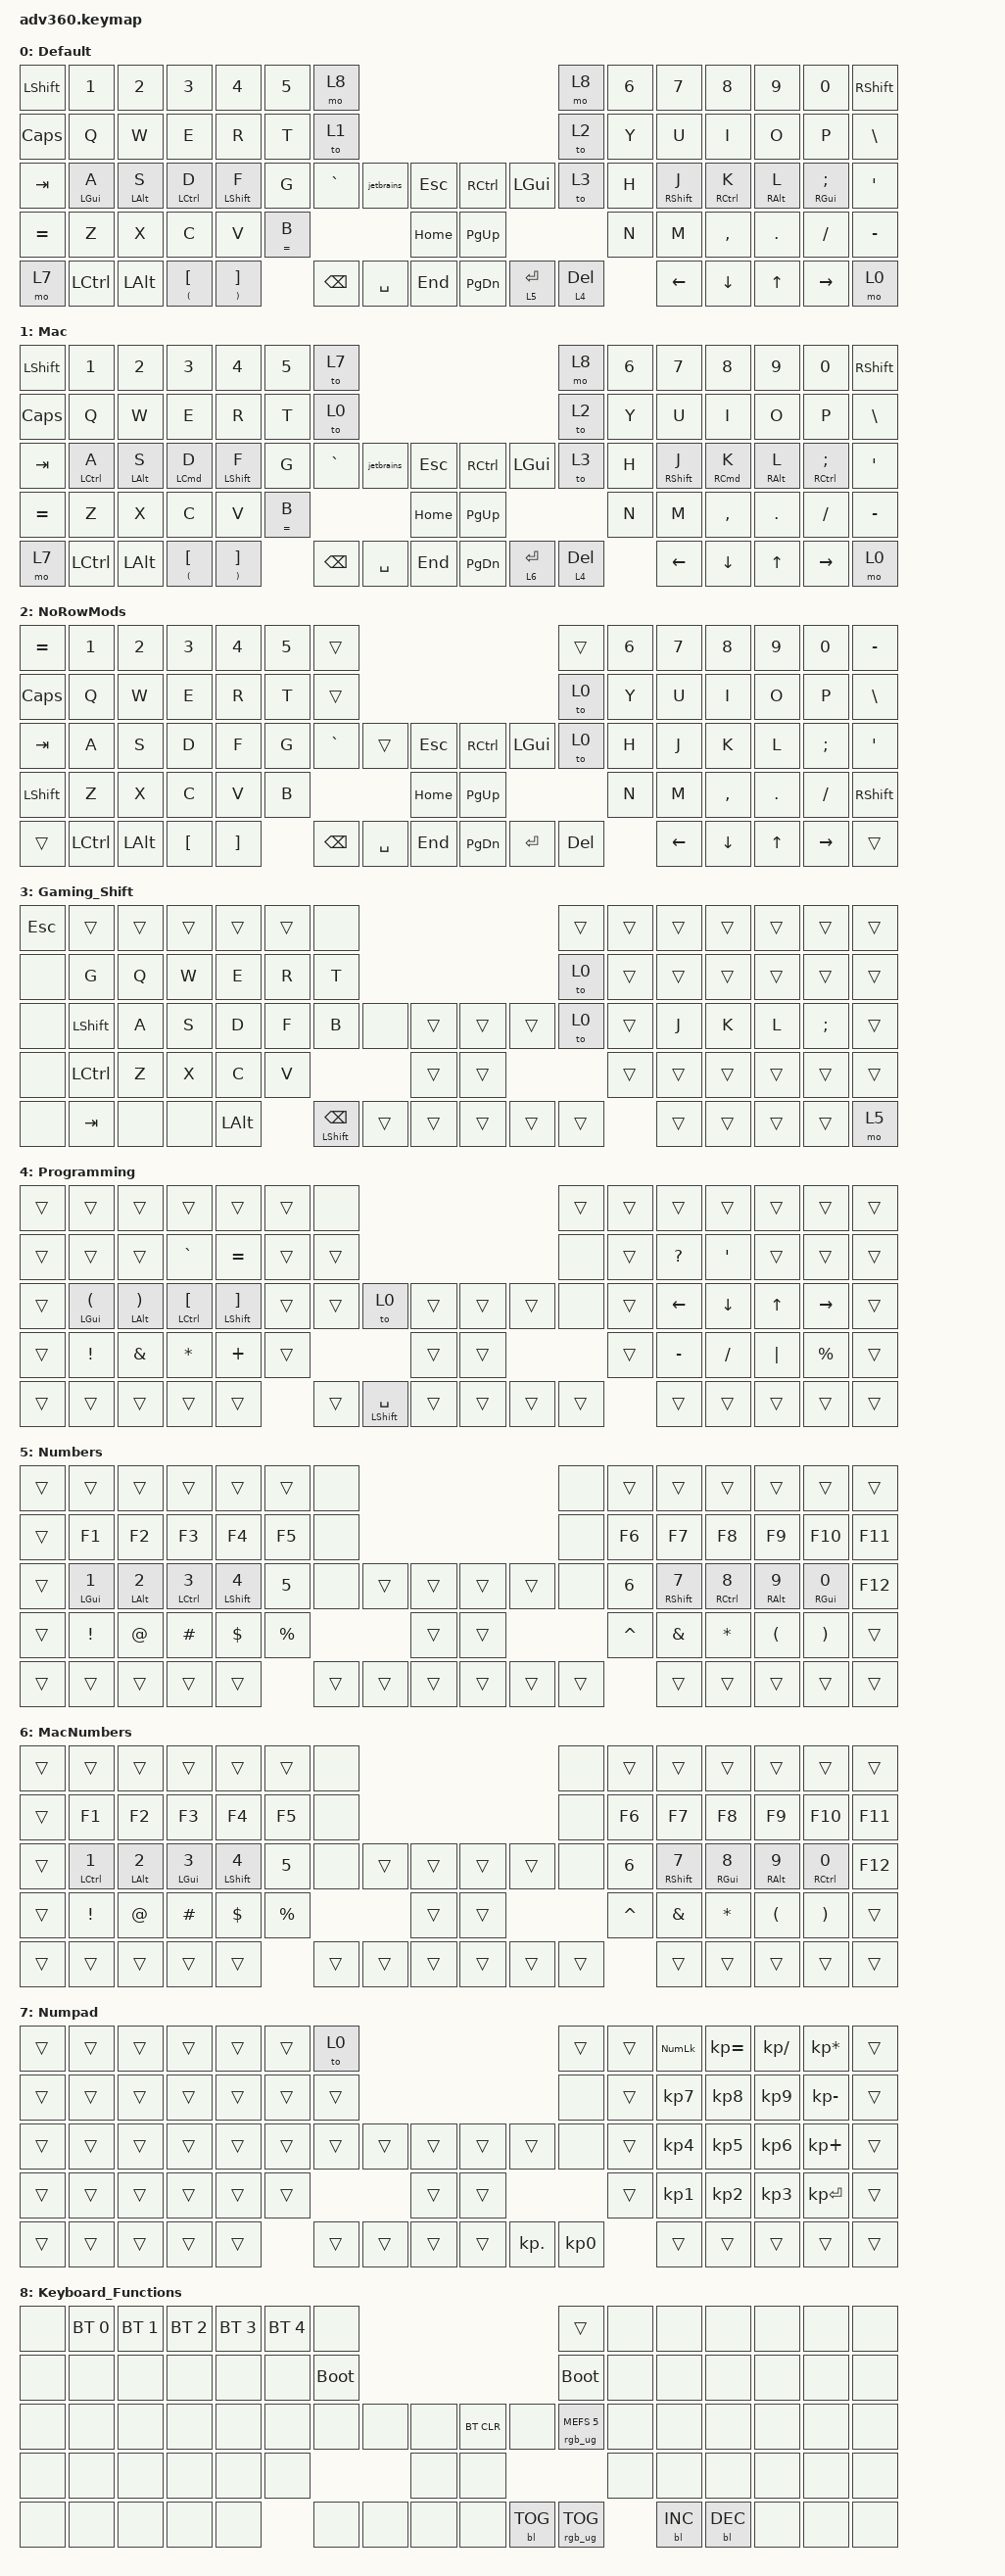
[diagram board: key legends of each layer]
#include <dt-bindings/zmk/stp.h>
#include <behaviors.dtsi>
#include <dt-bindings/zmk/backlight.h>
#include <dt-bindings/zmk/bt.h>
#include <dt-bindings/zmk/keys.h>
#include <dt-bindings/zmk/rgb.h>

/ {
    behaviors {
        #include "macros.dtsi"
    #include "version.dtsi"

        hm: homerow_mods {
            compatible = "zmk,behavior-hold-tap";
            label = "HOMEROW_MODS";
            #binding-cells = <2>;
            tapping-term-ms = <200>;
            quick_tap_ms = <0>;
            flavor = "tap-preferred";
            bindings = <&kp>, <&kp>;

            quick-tap-ms = <175>;
        };

        mt_layer: mt_layer {
            compatible = "zmk,behavior-hold-tap";
            label = "MT_LAYER";
            #binding-cells = <2>;
            tapping-term-ms = <200>;
            quick_tap_ms = <0>;
            flavor = "tap-preferred";
            bindings = <&mo>, <&kp>;

            quick-tap-ms = <175>;
        };

        get_me_outta_here: get_me_outta_here {
            compatible = "zmk,behavior-tap-dance";
            label = "GET_ME_OUTTA_HERE";
            #binding-cells = <0>;
            bindings = <&kp BSPC>, <&hm ESC BSPC>;
        };

        jetbrains: jetbrains {
            compatible = "zmk,behavior-tap-dance";
            label = "JETBRAINS";
            #binding-cells = <0>;
            bindings = <&hm LA(LC(L)) LSHFT>, <&hm LA(LS(L)) LSHFT>;
        };
    };

    keymap {
        compatible = "zmk,keymap";

        Default {
            bindings = <
&kp LSHFT  &kp N1      &kp N2        &kp N3         &kp N4         &kp N5       &mo 8                                                                  &mo 8            &kp N6  &kp N7        &kp N8       &kp N9      &kp N0              &kp RSHFT
&kp CAPS   &kp Q       &kp W         &kp E          &kp R          &kp T        &to 1                                                                  &to 2            &kp Y   &kp U         &kp I        &kp O       &kp P               &kp BSLH
&kp TAB    &hm LGUI A  &hm LALT S    &hm LCTRL D    &hm LSHFT F    &kp G        &kp GRAVE      &jetbrains  &kp ESC       &kp RCTRL  &kp LGUI           &to 3            &kp H   &hm RSHIFT J  &hm RCTRL K  &hm RALT L  &hm RGUI SEMICOLON  &kp SQT
&kp EQUAL  &kp Z       &kp X         &kp C          &kp V          &hm EQUAL B                             &kp HOME      &kp PG_UP                                      &kp N   &kp M         &kp COMMA    &kp DOT     &kp FSLH            &kp MINUS
&mo 7      &kp LCTRL   &kp LEFT_ALT  &hm LPAR LBKT  &hm RPAR RBKT               &kp BACKSPACE  &kp SPACE   &kp END       &kp PG_DN  &mt_layer 5 ENTER  &mt_layer 4 DEL          &kp LEFT      &kp DOWN     &kp UP      &kp RIGHT           &mo 0
            >;
        };

        Mac {
            bindings = <
&kp LSHFT  &kp N1       &kp N2        &kp N3              &kp N4         &kp N5       &to 7                                                                  &mo 8            &kp N6  &kp N7        &kp N8               &kp N9      &kp N0                       &kp RSHFT
&kp CAPS   &kp Q        &kp W         &kp E               &kp R          &kp T        &to 0                                                                  &to 2            &kp Y   &kp U         &kp I                &kp O       &kp P                        &kp BSLH
&kp TAB    &hm LCTRL A  &hm LALT S    &hm LEFT_COMMAND D  &hm LSHFT F    &kp G        &kp GRAVE      &jetbrains  &kp ESC       &kp RCTRL  &kp LGUI           &to 3            &kp H   &hm RSHIFT J  &hm RIGHT_COMMAND K  &hm RALT L  &hm RIGHT_CONTROL SEMICOLON  &kp SQT
&kp EQUAL  &kp Z        &kp X         &kp C               &kp V          &hm EQUAL B                             &kp HOME      &kp PG_UP                                      &kp N   &kp M         &kp COMMA            &kp DOT     &kp FSLH                     &kp MINUS
&mo 7      &kp LCTRL    &kp LEFT_ALT  &hm LPAR LBKT       &hm RPAR RBKT               &kp BACKSPACE  &kp SPACE   &kp END       &kp PG_DN  &mt_layer 6 ENTER  &mt_layer 4 DEL          &kp LEFT      &kp DOWN             &kp UP      &kp RIGHT                    &mo 0
            >;
        };

        NoRowMods {
            bindings = <
&kp EQUAL  &kp N1     &kp N2    &kp N3    &kp N4    &kp N5  &trans                                                   &trans   &kp N6  &kp N7    &kp N8     &kp N9        &kp N0     &kp MINUS
&kp CAPS   &kp Q      &kp W     &kp E     &kp R     &kp T   &trans                                                   &to 0    &kp Y   &kp U     &kp I      &kp O         &kp P      &kp BSLH
&kp TAB    &kp A      &kp S     &kp D     &kp F     &kp G   &kp GRAVE  &trans     &kp ESC       &kp RCTRL  &kp LGUI  &to 0    &kp H   &kp J     &kp K      &kp L         &kp SEMI   &kp SQT
&kp LSHFT  &kp Z      &kp X     &kp C     &kp V     &kp B                         &kp HOME      &kp PG_UP                     &kp N   &kp M     &kp COMMA  &kp DOT       &kp FSLH   &kp RSHFT
&trans     &kp LCTRL  &kp LALT  &kp LBKT  &kp RBKT          &kp BSPC   &kp SPACE  &kp END       &kp PG_DN  &kp RET   &kp DEL          &kp LEFT  &kp DOWN   &kp UP_ARROW  &kp RIGHT  &trans
            >;
        };

        Gaming_Shift {
            bindings = <
&kp ESC  &trans      &trans  &trans  &trans    &trans  &none                                                         &trans  &trans  &trans  &trans  &trans  &trans    &trans
&none    &kp G       &kp Q   &kp W   &kp E     &kp R   &kp T                                                         &to 0   &trans  &trans  &trans  &trans  &trans    &trans
&none    &kp LSHIFT  &kp A   &kp S   &kp D     &kp F   &kp B                     &none   &trans      &trans  &trans  &to 0   &trans  &kp J   &kp K   &kp L   &kp SEMI  &trans
&none    &kp LCTRL   &kp Z   &kp X   &kp C     &kp V                                     &trans      &trans                  &trans  &trans  &trans  &trans  &trans    &trans
&none    &kp TAB     &none   &none   &kp LALT          &hm LEFT_SHIFT BACKSPACE  &trans  &trans      &trans  &trans  &trans          &trans  &trans  &trans  &trans    &mo 5
            >;
        };

        Programming {
            bindings = <
&trans  &trans           &trans         &trans          &trans          &trans  &none                                                &trans  &trans  &trans        &trans            &trans    &trans     &trans
&trans  &trans           &trans         &kp GRAVE       &kp EQUAL       &trans  &trans                                               &none   &trans  &kp QUESTION  &kp SINGLE_QUOTE  &trans    &trans     &trans
&trans  &hm LGUI LPAR    &hm LALT RPAR  &hm LCTRL LBKT  &hm LSHFT RBKT  &trans  &trans  &to 0            &trans      &trans  &trans  &none   &trans  &kp LEFT      &kp DOWN          &kp UP    &kp RIGHT  &trans
&trans  &kp EXCLAMATION  &kp AMPS       &kp ASTERISK    &kp PLUS        &trans                           &trans      &trans                  &trans  &kp MINUS     &kp SLASH         &kp PIPE  &kp PRCNT  &trans
&trans  &trans           &trans         &trans          &trans                  &trans  &hm LSHFT SPACE  &trans      &trans  &trans  &trans          &trans        &trans            &trans    &trans     &trans
            >;
        };

        Numbers {
            bindings = <
&trans  &trans       &trans       &trans        &trans        &trans       &none                                       &none   &trans     &trans         &trans        &trans                &trans                 &trans
&trans  &kp F1       &kp F2       &kp F3        &kp F4        &kp F5       &none                                       &none   &kp F6     &kp F7         &kp F8        &kp F9                &kp F10                &kp F11
&trans  &hm LGUI N1  &hm LALT N2  &hm LCTRL N3  &hm LSHFT N4  &kp N5       &none   &trans  &trans      &trans  &trans  &none   &kp N6     &hm RSHIFT N7  &hm RCTRL N8  &hm RALT N9           &hm RGUI N0            &kp F12
&trans  &kp EXCL     &kp AT       &kp HASH      &kp DOLLAR    &kp PERCENT                  &trans      &trans                  &kp CARET  &kp AMPS       &kp ASTRK     &kp LEFT_PARENTHESIS  &kp RIGHT_PARENTHESIS  &trans
&trans  &trans       &trans       &trans        &trans                     &trans  &trans  &trans      &trans  &trans  &trans             &trans         &trans        &trans                &trans                 &trans
            >;
        };

        MacNumbers {
            bindings = <
&trans  &trans        &trans       &trans           &trans        &trans       &none                                       &none   &trans     &trans         &trans            &trans                &trans                 &trans
&trans  &kp F1        &kp F2       &kp F3           &kp F4        &kp F5       &none                                       &none   &kp F6     &kp F7         &kp F8            &kp F9                &kp F10                &kp F11
&trans  &hm LCTRL N1  &hm LALT N2  &hm LEFT_GUI N3  &hm LSHFT N4  &kp N5       &none   &trans  &trans      &trans  &trans  &none   &kp N6     &hm RSHIFT N7  &hm RIGHT_GUI N8  &hm RALT N9           &hm RCTRL N0           &kp F12
&trans  &kp EXCL      &kp AT       &kp HASH         &kp DOLLAR    &kp PERCENT                  &trans      &trans                  &kp CARET  &kp AMPS       &kp ASTRK         &kp LEFT_PARENTHESIS  &kp RIGHT_PARENTHESIS  &trans
&trans  &trans        &trans       &trans           &trans                     &trans  &trans  &trans      &trans  &trans  &trans             &trans         &trans            &trans                &trans                 &trans
            >;
        };

        Numpad {
            bindings = <
&trans  &trans  &trans  &trans  &trans  &trans  &to 0                                           &trans     &trans  &kp KP_NUM  &kp KP_EQUAL  &kp KP_DIVIDE  &kp KP_MULTIPLY  &trans
&trans  &trans  &trans  &trans  &trans  &trans  &trans                                          &none      &trans  &kp KP_N7   &kp KP_N8     &kp KP_N9      &kp KP_MINUS     &trans
&trans  &trans  &trans  &trans  &trans  &trans  &trans  &trans  &trans      &trans  &trans      &none      &trans  &kp KP_N4   &kp KP_N5     &kp KP_N6      &kp KP_PLUS      &trans
&trans  &trans  &trans  &trans  &trans  &trans                  &trans      &trans                         &trans  &kp KP_N1   &kp KP_N2     &kp KP_N3      &kp KP_ENTER     &trans
&trans  &trans  &trans  &trans  &trans          &trans  &trans  &trans      &trans  &kp KP_DOT  &kp KP_N0          &trans      &trans        &trans         &trans           &trans
            >;
        };

        Keyboard_Functions {
            bindings = <
&none  &bt BT_SEL 0  &bt BT_SEL 1  &bt BT_SEL 2  &bt BT_SEL 3  &bt BT_SEL 4  &none                                                  &trans                  &none  &none       &none       &none  &none  &none
&none  &none         &none         &none         &none         &none         &bootloader                                            &bootloader             &none  &none       &none       &none  &none  &none
&none  &none         &none         &none         &none         &none         &none        &none  &none      &bt BT_CLR  &none       &rgb_ug RGB_MEFS_CMD 5  &none  &none       &none       &none  &none  &none
&none  &none         &none         &none         &none         &none                             &none      &none                                           &none  &none       &none       &none  &none  &none
&none  &none         &none         &none         &none                       &none        &none  &none      &none       &bl BL_TOG  &rgb_ug RGB_TOG                &bl BL_INC  &bl BL_DEC  &none  &none  &none
            >;
        };
    };
};
